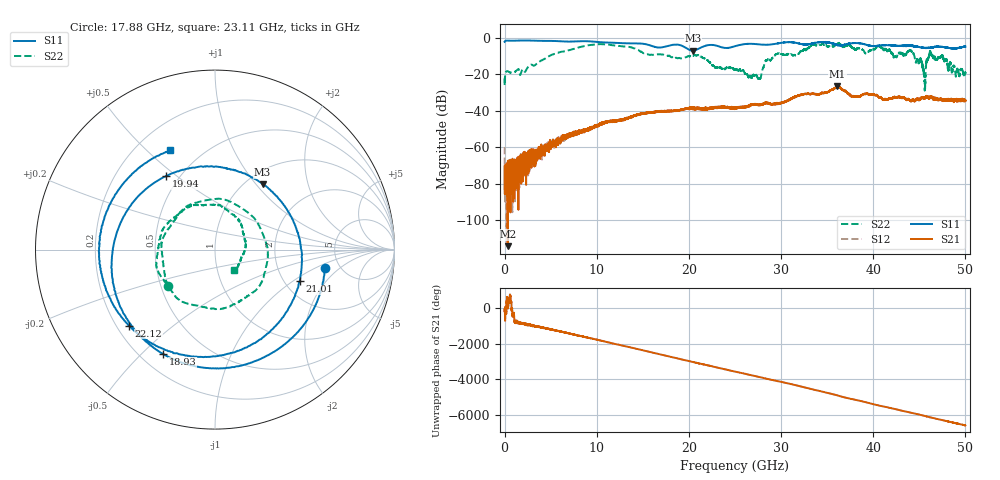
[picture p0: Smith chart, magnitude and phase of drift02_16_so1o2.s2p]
!Created with skrf (http://scikit-rf.org).
# Hz S RI R 50.0
!freq ReS11 ImS11 ReS21 ImS21 ReS12 ImS12 ReS22 ImS22
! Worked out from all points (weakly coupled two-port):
!   10001 points, 300 kHz to 50 GHz, reference 50 ohm
!   highest |S21| = -26.30 dB at 36.12 GHz (marker M1); lowest = -114.1 dB at 330.3 MHz (marker M2)
!   lowest |S11| = -6.9 dB at 20.44 GHz (marker M3), VSWR 2.64, Z = 59.3 + j54.1 ohm
!   |S11| at or under -10 dB: nowhere
!   |S22| runs from -28.8 to -2.6 dB; largest |S21 - S12| = 0.0053
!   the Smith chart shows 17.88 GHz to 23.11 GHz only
!   S11 on the Smith chart (normalised r, x): 17.88 GHz: 3.83, -1.28; 18.93 GHz: 0.29, -0.58; 19.94 GHz: 0.42, +0.46; 21.01 GHz: 2.41, -1.14; 22.12 GHz: 0.25, -0.36; 23.11 GHz: 0.34, +0.59
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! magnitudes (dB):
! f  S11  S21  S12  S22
! 300 kHz  -2.1  -70.3  -59.8  -21.8
! 330.3 MHz  -1.4  -114.1  -75.4  -18.1
! 2.89 GHz  -1.4  -62.5  -65.2  -14.6
! 8.335 GHz  -1.7  -52.1  -51.1  -4.8
! 16.67 GHz  -5.2  -40.3  -40.3  -9.0
! 17.88 GHz  -4.1  -39.8  -40.1  -9.6
! 18.93 GHz  -3.7  -39.6  -39.5  -10.9
! 19.94 GHz  -6.2  -38.6  -38.5  -9.9
! 20.44 GHz  -6.9  -38.7  -38.4  -9.7
! 21.01 GHz  -5.9  -38.6  -38.5  -9.4
! 22.12 GHz  -3.9  -38.6  -38.7  -12.8
! 23.11 GHz  -4.3  -37.9  -37.8  -16.1
! 25 GHz  -4.5  -38.4  -38.2  -17.5
! 27.62 GHz  -3.5  -36.7  -36.6  -22.0
! 28.5 GHz  -3.7  -35.8  -35.5  -12.2
! 33.34 GHz  -3.0  -30.5  -30.5  -3.8
! 36.12 GHz  -3.9  -26.3  -27.0  -3.3
! 41.67 GHz  -4.0  -33.4  -33.4  -6.2
! 44.13 GHz  -4.2  -34.2  -34.3  -7.3
! 45.5 GHz  -5.4  -33.0  -33.0  -18.9
! 46.25 GHz  -5.2  -31.9  -32.3  -8.3
! 50 GHz  -4.7  -34.5  -34.7  -19.2
